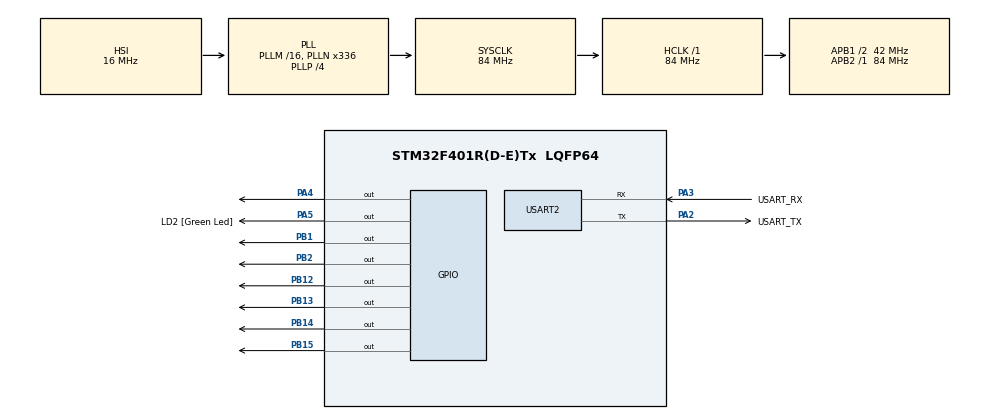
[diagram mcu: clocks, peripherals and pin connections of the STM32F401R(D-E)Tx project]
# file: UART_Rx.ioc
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Dma.Request0=USART2_RX
Dma.USART2_RX.0.Direction=DMA_PERIPH_TO_MEMORY
Dma.USART2_RX.0.FIFOMode=DMA_FIFOMODE_DISABLE
Dma.USART2_RX.0.Instance=DMA1_Stream5
Dma.USART2_RX.0.MemDataAlignment=DMA_MDATAALIGN_BYTE
Dma.USART2_RX.0.MemInc=DMA_MINC_ENABLE
Dma.USART2_RX.0.Mode=DMA_NORMAL
Dma.USART2_RX.0.PeriphDataAlignment=DMA_PDATAALIGN_BYTE
Dma.USART2_RX.0.PeriphInc=DMA_PINC_DISABLE
Dma.USART2_RX.0.Priority=DMA_PRIORITY_HIGH
Mcu.Family=STM32F4
Mcu.Name=STM32F401R(D-E)Tx
Mcu.Package=LQFP64
NVIC.DMA1_Stream5_IRQn=true\:0\:0\:false\:false\:true\:false\:true\:true
NVIC.PriorityGroup=NVIC_PRIORITYGROUP_0
NVIC.USART2_IRQn=true\:0\:0\:false\:false\:true\:true\:true\:true
PA13.GPIO_Label=TMS
PA13.Mode=Serial_Wire
PA13.Signal=SYS_JTMS-SWDIO
PA14.GPIO_Label=TCK
PA14.Mode=Serial_Wire
PA14.Signal=SYS_JTCK-SWCLK
PA2.GPIO_Label=USART_TX
PA2.GPIO_Mode=GPIO_MODE_AF_PP
PA2.GPIO_PuPd=GPIO_NOPULL
PA2.GPIO_Speed=GPIO_SPEED_FREQ_LOW
PA2.Mode=Asynchronous
PA2.Signal=USART2_TX
PA3.GPIO_Label=USART_RX
PA3.GPIO_Mode=GPIO_MODE_AF_PP
PA3.GPIO_PuPd=GPIO_NOPULL
PA3.GPIO_Speed=GPIO_SPEED_FREQ_LOW
PA3.Mode=Asynchronous
PA3.Signal=USART2_RX
PA4.Signal=GPIO_Output
PA5.GPIO_Label=LD2 [Green Led]
PA5.GPIO_Mode=GPIO_MODE_OUTPUT_PP
PA5.GPIO_PuPd=GPIO_NOPULL
PA5.GPIO_Speed=GPIO_SPEED_FREQ_LOW
PA5.Signal=GPIO_Output
PB1.Signal=GPIO_Output
PB12.Signal=GPIO_Output
PB13.Signal=GPIO_Output
PB14.Signal=GPIO_Output
PB15.Signal=GPIO_Output
PB2.Signal=GPIO_Output
PB3.GPIO_Label=SWO
PB3.Signal=SYS_JTDO-SWO
PC14-OSC32_IN.Mode=LSE-External-Oscillator
PC14-OSC32_IN.Signal=RCC_OSC32_IN
PC15-OSC32_OUT.Mode=LSE-External-Oscillator
PC15-OSC32_OUT.Signal=RCC_OSC32_OUT
PH0\ -\ OSC_IN.Mode=HSE-External-Clock-Source
PH0\ -\ OSC_IN.Signal=RCC_OSC_IN
PH1\ -\ OSC_OUT.Mode=HSE-External-Clock-Source
PH1\ -\ OSC_OUT.Signal=RCC_OSC_OUT
ProjectManager.HeapSize=0x200
ProjectManager.StackSize=0x400
ProjectManager.TargetToolchain=STM32CubeIDE
RCC.48MHZClocksFreq_Value=48000000
RCC.AHBFreq_Value=84000000
RCC.APB1CLKDivider=RCC_HCLK_DIV2
RCC.APB1Freq_Value=42000000
RCC.APB1TimFreq_Value=84000000
RCC.APB2Freq_Value=84000000
RCC.APB2TimFreq_Value=84000000
RCC.CortexFreq_Value=84000000
RCC.HCLKFreq_Value=84000000
RCC.HSE_VALUE=8000000
RCC.HSI_VALUE=16000000
RCC.PLLN=336
RCC.PLLP=RCC_PLLP_DIV4
RCC.PLLQ=7
RCC.SYSCLKFreq_VALUE=84000000
RCC.SYSCLKSource=RCC_SYSCLKSOURCE_PLLCLK
RCC.VCOOutputFreq_Value=336000000
USART2.VirtualMode=VM_ASYNC
board=NUCLEO-F401RE

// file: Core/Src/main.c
/* USER CODE BEGIN Header */
/**
  ******************************************************************************
  * @file           : main.c
  * @brief          : Main program body
  ******************************************************************************
  * @attention
  *
  * Copyright (c) 2024 STMicroelectronics.
  * All rights reserved.
  *
  * This software is licensed under terms that can be found in the LICENSE file
  * in the root directory of this software component.
  * If no LICENSE file comes with this software, it is provided AS-IS.
  *
  ******************************************************************************
  */
/* USER CODE END Header */
#include "main.h"

/* USER CODE BEGIN Includes */
#include "PMDB16_LCD.h"
/* USER CODE END Includes */

/* USER CODE BEGIN PD */
#define LENGTH 1 // define how many bytes per time you want to send via UART
/* USER CODE END PD */

UART_HandleTypeDef huart2;
DMA_HandleTypeDef hdma_usart2_rx;

void SystemClock_Config(void);
static void MX_GPIO_Init(void);
static void MX_DMA_Init(void);
static void MX_USART2_UART_Init(void);

/* USER CODE BEGIN 0 */

uint8_t RxData[LENGTH];	// stream variable
uint8_t row = 0;
char c[1];				// char stream variable
char string[16] = "";	// string to be composed

void HAL_UART_RxCpltCallback(UART_HandleTypeDef *huart) {
	sprintf(c, "%c", RxData[0]); // convert into a string
	strcat(string, c);			 // concat the previous data with all the string
    lcd_clear();				 // clear LCD, ready to print the new word
    lcd_println(string, row);	 // print new string
    HAL_UART_Receive_DMA(&huart2, RxData, LENGTH);
}

/* USER CODE END 0 */

int main(void)
{

  /* MCU Configuration--------------------------------------------------------*/

  /* Reset of all peripherals, Initializes the Flash interface and the Systick. */
  HAL_Init();

  /* Configure the system clock */
  SystemClock_Config();

  /* Initialize all configured peripherals */
  MX_GPIO_Init();
  MX_DMA_Init();
  MX_USART2_UART_Init();
  /* USER CODE BEGIN 2 */
  lcd_initialize();
  lcd_backlight_ON();
  lcd_clear();

  HAL_UART_Receive_DMA(&huart2, RxData, LENGTH);
  /* USER CODE END 2 */

  /* Infinite loop */
  while (1)
  {

  }
}

void SystemClock_Config(void)
{
  RCC_OscInitTypeDef RCC_OscInitStruct = {0};
  RCC_ClkInitTypeDef RCC_ClkInitStruct = {0};

  /** Configure the main internal regulator output voltage
  */
  __HAL_RCC_PWR_CLK_ENABLE();
  __HAL_PWR_VOLTAGESCALING_CONFIG(PWR_REGULATOR_VOLTAGE_SCALE2);

  /** Initializes the RCC Oscillators according to the specified parameters
  * in the RCC_OscInitTypeDef structure.
  */
  RCC_OscInitStruct.OscillatorType = RCC_OSCILLATORTYPE_HSI;
  RCC_OscInitStruct.HSIState = RCC_HSI_ON;
  RCC_OscInitStruct.HSICalibrationValue = RCC_HSICALIBRATION_DEFAULT;
  RCC_OscInitStruct.PLL.PLLState = RCC_PLL_ON;
  RCC_OscInitStruct.PLL.PLLSource = RCC_PLLSOURCE_HSI;
  RCC_OscInitStruct.PLL.PLLM = 16;
  RCC_OscInitStruct.PLL.PLLN = 336;
  RCC_OscInitStruct.PLL.PLLP = RCC_PLLP_DIV4;
  RCC_OscInitStruct.PLL.PLLQ = 7;
  if (HAL_RCC_OscConfig(&RCC_OscInitStruct) != HAL_OK)
  {
    Error_Handler();
  }

  /** Initializes the CPU, AHB and APB buses clocks
  */
  RCC_ClkInitStruct.ClockType = RCC_CLOCKTYPE_HCLK|RCC_CLOCKTYPE_SYSCLK
                              |RCC_CLOCKTYPE_PCLK1|RCC_CLOCKTYPE_PCLK2;
  RCC_ClkInitStruct.SYSCLKSource = RCC_SYSCLKSOURCE_PLLCLK;
  RCC_ClkInitStruct.AHBCLKDivider = RCC_SYSCLK_DIV1;
  RCC_ClkInitStruct.APB1CLKDivider = RCC_HCLK_DIV2;
  RCC_ClkInitStruct.APB2CLKDivider = RCC_HCLK_DIV1;

  if (HAL_RCC_ClockConfig(&RCC_ClkInitStruct, FLASH_LATENCY_2) != HAL_OK)
  {
    Error_Handler();
  }
}

static void MX_USART2_UART_Init(void)
{

  huart2.Instance = USART2;
  huart2.Init.BaudRate = 115200;
  huart2.Init.WordLength = UART_WORDLENGTH_8B;
  huart2.Init.StopBits = UART_STOPBITS_1;
  huart2.Init.Parity = UART_PARITY_NONE;
  huart2.Init.Mode = UART_MODE_TX_RX;
  huart2.Init.HwFlowCtl = UART_HWCONTROL_NONE;
  huart2.Init.OverSampling = UART_OVERSAMPLING_16;
  if (HAL_UART_Init(&huart2) != HAL_OK)
  {
    Error_Handler();
  }

}

static void MX_DMA_Init(void)
{

  /* DMA controller clock enable */
  __HAL_RCC_DMA1_CLK_ENABLE();

  /* DMA interrupt init */
  /* DMA1_Stream5_IRQn interrupt configuration */
  HAL_NVIC_SetPriority(DMA1_Stream5_IRQn, 0, 0);
  HAL_NVIC_EnableIRQ(DMA1_Stream5_IRQn);

}

static void MX_GPIO_Init(void)
{
  GPIO_InitTypeDef GPIO_InitStruct = {0};

  /* GPIO Ports Clock Enable */
  __HAL_RCC_GPIOC_CLK_ENABLE();
  __HAL_RCC_GPIOH_CLK_ENABLE();
  __HAL_RCC_GPIOA_CLK_ENABLE();
  __HAL_RCC_GPIOB_CLK_ENABLE();

  /*Configure GPIO pin Output Level */
  HAL_GPIO_WritePin(GPIOA, GPIO_PIN_4|LD2_Pin, GPIO_PIN_RESET);

  /*Configure GPIO pin Output Level */
  HAL_GPIO_WritePin(GPIOB, GPIO_PIN_1|GPIO_PIN_2|GPIO_PIN_12|GPIO_PIN_13
                          |GPIO_PIN_14|GPIO_PIN_15, GPIO_PIN_RESET);

  /*Configure GPIO pins : PA4 LD2_Pin */
  GPIO_InitStruct.Pin = GPIO_PIN_4|LD2_Pin;
  GPIO_InitStruct.Mode = GPIO_MODE_OUTPUT_PP;
  GPIO_InitStruct.Pull = GPIO_NOPULL;
  GPIO_InitStruct.Speed = GPIO_SPEED_FREQ_LOW;
  HAL_GPIO_Init(GPIOA, &GPIO_InitStruct);

  /*Configure GPIO pins : PB1 PB2 PB12 PB13
                           PB14 PB15 */
  GPIO_InitStruct.Pin = GPIO_PIN_1|GPIO_PIN_2|GPIO_PIN_12|GPIO_PIN_13
                          |GPIO_PIN_14|GPIO_PIN_15;
  GPIO_InitStruct.Mode = GPIO_MODE_OUTPUT_PP;
  GPIO_InitStruct.Pull = GPIO_NOPULL;
  GPIO_InitStruct.Speed = GPIO_SPEED_FREQ_LOW;
  HAL_GPIO_Init(GPIOB, &GPIO_InitStruct);

}

void Error_Handler(void)
{
  __disable_irq();
  while (1)
  {
  }
}
